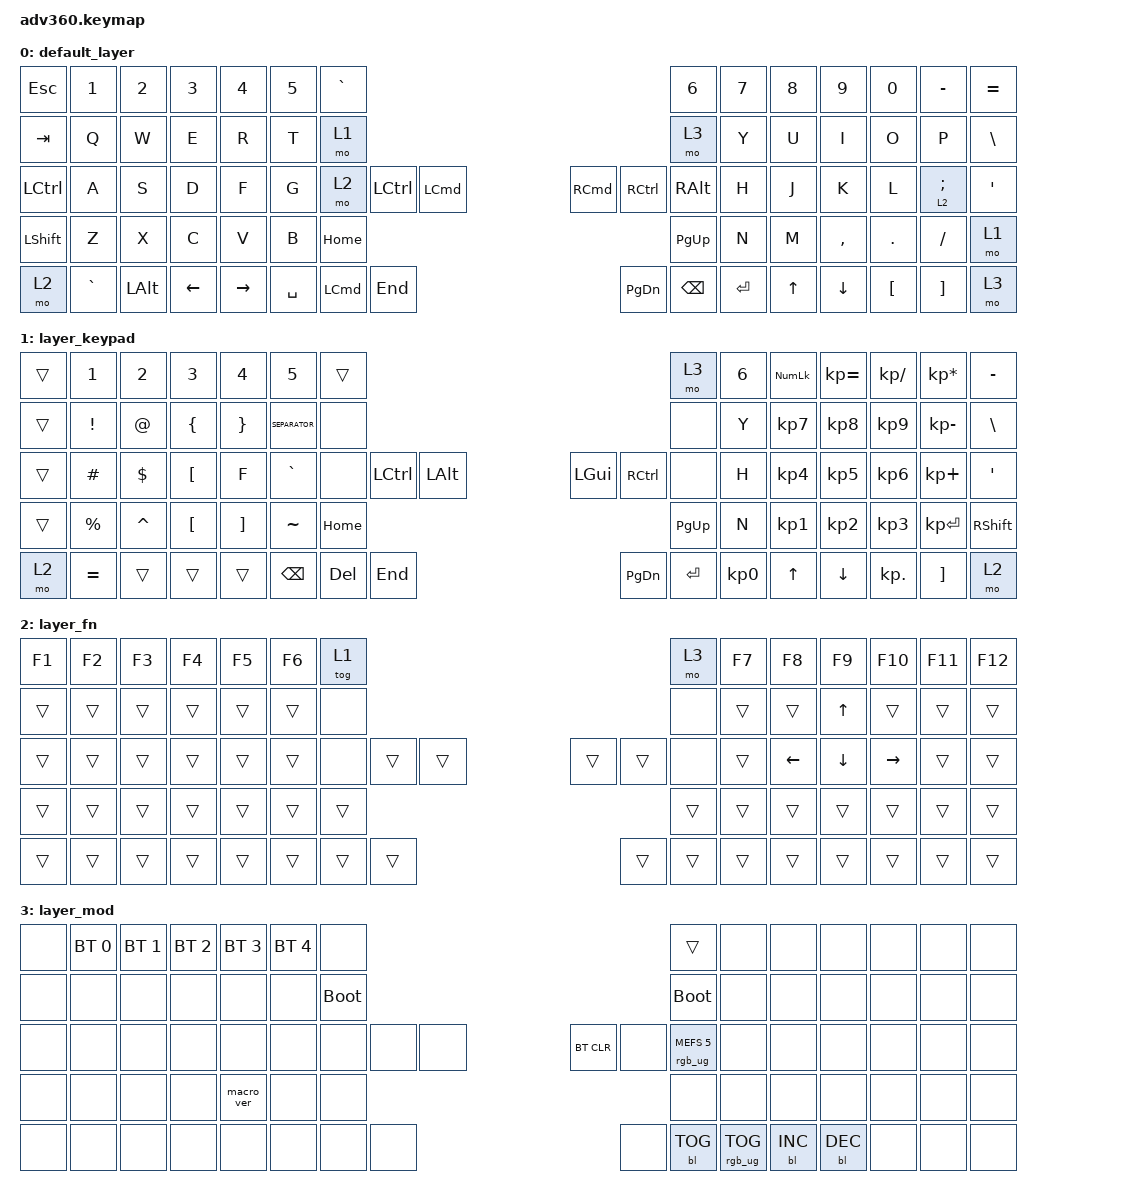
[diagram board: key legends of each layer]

/*
 * Copyright (c) 2020 The ZMK Contributors
 *
 * SPDX-License-Identifier: MIT
 */


/* THIS FILE WAS GENERATED!
 *
 * This file was generated automatically. You may or may not want to
 * edit it directly.
 */

#include <behaviors.dtsi>
#include <dt-bindings/zmk/keys.h>
#include <dt-bindings/zmk/bt.h>
#include <dt-bindings/zmk/rgb.h>
#include <dt-bindings/zmk/backlight.h>

/ {
  behaviors {
    #include "macros.dtsi"
    #include "version.dtsi"

    hm: homerow_mods {
        compatible = "zmk,behavior-hold-tap";
        label = "HOMEROW_MODS";
        #binding-cells = <2>;
        tapping-term-ms = <200>;
        quick_tap_ms = <175>;
        flavor = "tap-preferred";
        bindings = <&kp>, <&kp>;
    };
  };

    keymap {
        compatible = "zmk,keymap";


        default_layer {
            bindings = <
   &kp ESC     &kp N1        &kp N2    &kp N3     &kp N4  &kp N5            &kp GRAVE                                                                                           &kp N6  &kp N7  &kp N8     &kp N9    &kp N0        &kp MINUS  &kp EQUAL
   &kp TAB      &kp Q         &kp W     &kp E      &kp R   &kp T                &mo 1                                                                                            &mo 3   &kp Y   &kp U      &kp I     &kp O            &kp P   &kp BSLH
 &kp LCTRL      &kp A         &kp S     &kp D      &kp F   &kp G                &mo 2         &kp LCTRL  &kp LEFT_COMMAND                  &kp RIGHT_COMMAND      &kp RCTRL   &kp RALT   &kp H   &kp J      &kp K     &kp L  &lt 2 SEMICOLON    &kp SQT
 &kp LSHFT      &kp Z         &kp X     &kp C      &kp V   &kp B                                                 &kp HOME                          &kp PG_UP                             &kp N   &kp M  &kp COMMA   &kp DOT         &kp FSLH      &mo 1
     &mo 2  &kp GRAVE  &kp LEFT_ALT  &kp LEFT  &kp RIGHT                    &kp SPACE  &kp LEFT_COMMAND           &kp END                          &kp PG_DN  &kp BACKSPACE  &kp ENTER          &kp UP   &kp DOWN  &kp LBKT         &kp RBKT      &mo 3
            >;
        };

        layer_keypad {
            bindings = <
 &trans     &kp N1     &kp N2            &kp N3             &kp N4         &kp N5              &trans                                                                 &mo 3  &kp N6  &kp KP_NUM  &kp KP_EQUAL  &kp KP_DIVIDE  &kp KP_MULTIPLY  &kp MINUS
 &trans   &kp EXCL     &kp AT    &kp LEFT_BRACE    &kp RIGHT_BRACE  &kp SEPARATOR               &none                                                                 &none   &kp Y   &kp KP_N7     &kp KP_N8      &kp KP_N9     &kp KP_MINUS   &kp BSLH
 &trans   &kp HASH   &kp DLLR  &kp LEFT_BRACKET              &kp F      &kp GRAVE               &none  &kp LCTRL  &kp LALT                   &kp LGUI  &kp RCTRL      &none   &kp H   &kp KP_N4     &kp KP_N5      &kp KP_N6      &kp KP_PLUS    &kp SQT
 &trans  &kp PRCNT  &kp CARET  &kp LEFT_BRACKET  &kp RIGHT_BRACKET      &kp TILDE                                 &kp HOME                  &kp PG_UP                         &kp N   &kp KP_N1     &kp KP_N2      &kp KP_N3     &kp KP_ENTER  &kp RSHFT
  &mo 2  &kp EQUAL     &trans            &trans             &trans                           &kp BSPC    &kp DEL   &kp END                  &kp PG_DN  &kp ENTER  &kp KP_N0              &kp UP      &kp DOWN     &kp KP_DOT         &kp RBKT      &mo 2
            >;
        };

        layer_fn {
            bindings = <
 &kp F1  &kp F2  &kp F3  &kp F4  &kp F5  &kp F6            &tog 1                                                   &mo 3  &kp F7          &kp F8          &kp F9          &kp F10  &kp F11  &kp F12
 &trans  &trans  &trans  &trans  &trans  &trans             &none                                                   &none  &trans          &trans    &kp UP_ARROW           &trans   &trans   &trans
 &trans  &trans  &trans  &trans  &trans  &trans             &none  &trans  &trans                  &trans  &trans   &none  &trans  &kp LEFT_ARROW  &kp DOWN_ARROW  &kp RIGHT_ARROW   &trans   &trans
 &trans  &trans  &trans  &trans  &trans  &trans                            &trans                  &trans                  &trans          &trans          &trans           &trans   &trans   &trans
 &trans  &trans  &trans  &trans  &trans                    &trans  &trans  &trans                  &trans  &trans  &trans                  &trans          &trans           &trans   &trans   &trans
            >;
        };

        layer_mod {
            bindings = <
  &none  &bt BT_SEL 0  &bt BT_SEL 1  &bt BT_SEL 2  &bt BT_SEL 3  &bt BT_SEL 4                  &none                                                                          &trans   &none       &none       &none   &none   &none   &none
  &none         &none         &none         &none         &none         &none            &bootloader                                                                     &bootloader   &none       &none       &none   &none   &none   &none
  &none         &none         &none         &none         &none         &none                  &none   &none   &none                  &bt BT_CLR       &none  &rgb_ug RGB_MEFS_CMD 5   &none       &none       &none   &none   &none   &none
  &none         &none         &none         &none    &macro_ver         &none                                  &none                       &none                                       &none       &none       &none   &none   &none   &none
  &none         &none         &none         &none         &none                                &none   &none   &none                       &none  &bl BL_TOG         &rgb_ug RGB_TOG          &bl BL_INC  &bl BL_DEC   &none   &none   &none
            >;
        };

    };
};
